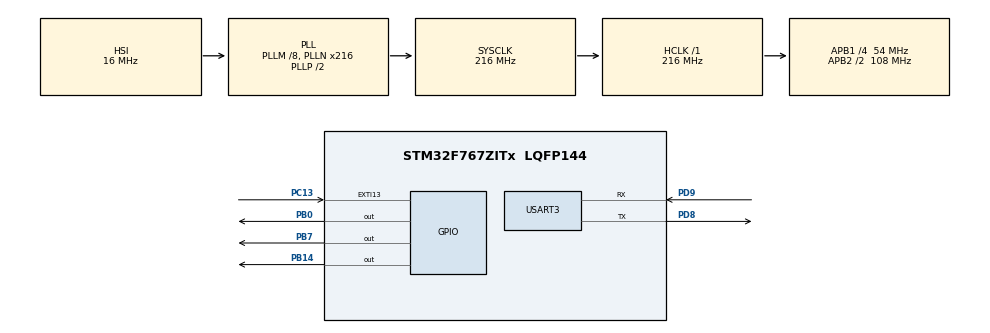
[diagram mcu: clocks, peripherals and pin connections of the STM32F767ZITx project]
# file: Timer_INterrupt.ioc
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Mcu.Family=STM32F7
Mcu.Name=STM32F767ZITx
Mcu.Package=LQFP144
NVIC.EXTI15_10_IRQn=true\:1\:0\:true\:false\:true\:true\:true\:true
NVIC.PriorityGroup=NVIC_PRIORITYGROUP_2
NVIC.TIM8_UP_TIM13_IRQn=true\:2\:0\:true\:false\:true\:true\:true\:true
PB0.Signal=GPIO_Output
PB14.Signal=GPIO_Output
PB7.Signal=GPIO_Output
PC13.GPIO_ModeDefaultEXTI=GPIO_MODE_IT_RISING
PC13.Signal=GPXTI13
PD8.Mode=Asynchronous
PD8.Signal=USART3_TX
PD9.Mode=Asynchronous
PD9.Signal=USART3_RX
ProjectManager.HeapSize=0x200
ProjectManager.StackSize=0x400
ProjectManager.TargetToolchain=STM32CubeIDE
RCC.AHBFreq_Value=216000000
RCC.APB1CLKDivider=RCC_HCLK_DIV4
RCC.APB1Freq_Value=54000000
RCC.APB1TimFreq_Value=108000000
RCC.APB2CLKDivider=RCC_HCLK_DIV2
RCC.APB2Freq_Value=108000000
RCC.APB2TimFreq_Value=216000000
RCC.CortexFreq_Value=216000000
RCC.HCLKFreq_Value=216000000
RCC.HSE_VALUE=25000000
RCC.HSI_VALUE=16000000
RCC.LSE_VALUE=32768
RCC.PLLM=8
RCC.PLLN=216
RCC.SYSCLKFreq_VALUE=216000000
RCC.SYSCLKSource=RCC_SYSCLKSOURCE_PLLCLK
RCC.USBFreq_Value=216000000
RCC.VCOOutputFreq_Value=432000000
TIM8.Period=1000-1
TIM8.Prescaler=216-1
USART3.VirtualMode-Asynchronous=VM_ASYNC
VP_TIM8_VS_ClockSourceINT.Mode=Internal
board=custom

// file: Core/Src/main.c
/* USER CODE BEGIN Header */
/**
  ******************************************************************************
  * @file           : main.c
  * @brief          : Main program body
  ******************************************************************************
  * @attention
  *
  * Copyright (c) 2023 STMicroelectronics.
  * All rights reserved.
  *
  * This software is licensed under terms that can be found in the LICENSE file
  * in the root directory of this software component.
  * If no LICENSE file comes with this software, it is provided AS-IS.
  *
  ******************************************************************************
  */
/* USER CODE END Header */
#include "main.h"
#include "tim.h"
#include "usart.h"
#include "gpio.h"

/* USER CODE BEGIN Includes */
#include "string.h"
/* USER CODE END Includes */

/* USER CODE BEGIN PV */
uint16_t number = 1030;
uint16_t interrupt = 0;
/* USER CODE END PV */

void SystemClock_Config(void);

int main(void)
{

  /* MCU Configuration--------------------------------------------------------*/

  /* Reset of all peripherals, Initializes the Flash interface and the Systick. */
  HAL_Init();

  /* Configure the system clock */
  SystemClock_Config();

  /* Initialize all configured peripherals */
  MX_GPIO_Init();
  MX_TIM8_Init();
  MX_USART3_UART_Init();
  /* USER CODE BEGIN 2 */
  HAL_TIM_Base_Start_IT(&htim8);
  /* USER CODE END 2 */

  /* Infinite loop */
  while (1)
  {

    /* USER CODE BEGIN 3 */
	  if (interrupt >= 1000)
	  {
		  if (number < 1002)
		  {
		  	HAL_UART_Transmit(&huart3, "STOP\n\r", 6, 100);
		  	break;
		  }
		  uint8_t buf[20];
		  sprintf(buf, "%d\n\r", number);
		  HAL_UART_Transmit(&huart3, buf, strlen(buf), 100);
		  number -= 2;
		  interrupt = 0;
	  }
  }
  /* USER CODE END 3 */
}

void SystemClock_Config(void)
{
  RCC_OscInitTypeDef RCC_OscInitStruct = {0};
  RCC_ClkInitTypeDef RCC_ClkInitStruct = {0};

  /** Configure the main internal regulator output voltage
  */
  __HAL_RCC_PWR_CLK_ENABLE();
  __HAL_PWR_VOLTAGESCALING_CONFIG(PWR_REGULATOR_VOLTAGE_SCALE1);

  /** Initializes the RCC Oscillators according to the specified parameters
  * in the RCC_OscInitTypeDef structure.
  */
  RCC_OscInitStruct.OscillatorType = RCC_OSCILLATORTYPE_HSI;
  RCC_OscInitStruct.HSIState = RCC_HSI_ON;
  RCC_OscInitStruct.HSICalibrationValue = RCC_HSICALIBRATION_DEFAULT;
  RCC_OscInitStruct.PLL.PLLState = RCC_PLL_ON;
  RCC_OscInitStruct.PLL.PLLSource = RCC_PLLSOURCE_HSI;
  RCC_OscInitStruct.PLL.PLLM = 8;
  RCC_OscInitStruct.PLL.PLLN = 216;
  RCC_OscInitStruct.PLL.PLLP = RCC_PLLP_DIV2;
  RCC_OscInitStruct.PLL.PLLQ = 2;
  RCC_OscInitStruct.PLL.PLLR = 2;
  if (HAL_RCC_OscConfig(&RCC_OscInitStruct) != HAL_OK)
  {
    Error_Handler();
  }

  /** Activate the Over-Drive mode
  */
  if (HAL_PWREx_EnableOverDrive() != HAL_OK)
  {
    Error_Handler();
  }

  /** Initializes the CPU, AHB and APB buses clocks
  */
  RCC_ClkInitStruct.ClockType = RCC_CLOCKTYPE_HCLK|RCC_CLOCKTYPE_SYSCLK
                              |RCC_CLOCKTYPE_PCLK1|RCC_CLOCKTYPE_PCLK2;
  RCC_ClkInitStruct.SYSCLKSource = RCC_SYSCLKSOURCE_PLLCLK;
  RCC_ClkInitStruct.AHBCLKDivider = RCC_SYSCLK_DIV1;
  RCC_ClkInitStruct.APB1CLKDivider = RCC_HCLK_DIV4;
  RCC_ClkInitStruct.APB2CLKDivider = RCC_HCLK_DIV2;

  if (HAL_RCC_ClockConfig(&RCC_ClkInitStruct, FLASH_LATENCY_7) != HAL_OK)
  {
    Error_Handler();
  }
}

/* USER CODE BEGIN 4 */
void HAL_GPIO_EXTI_Callback(uint16_t GPIO_Pin)
{
	if (GPIO_Pin == GPIO_PIN_13)
	{
		HAL_Delay(1000);
		HAL_GPIO_WritePin(GPIOB, GPIO_PIN_0, GPIO_PIN_SET);
		HAL_Delay(1000);
		HAL_GPIO_WritePin(GPIOB, GPIO_PIN_7, GPIO_PIN_SET);
		HAL_Delay(1000);
		HAL_GPIO_WritePin(GPIOB, GPIO_PIN_14, GPIO_PIN_SET);
		HAL_Delay(1000);
		HAL_GPIO_WritePin(GPIOB, GPIO_PIN_0, GPIO_PIN_RESET);
		HAL_GPIO_WritePin(GPIOB, GPIO_PIN_7, GPIO_PIN_RESET);
		HAL_GPIO_WritePin(GPIOB, GPIO_PIN_14, GPIO_PIN_RESET);
	}
}
/* USER CODE END 4 */

void Error_Handler(void)
{
  __disable_irq();
  while (1)
  {
  }
}
